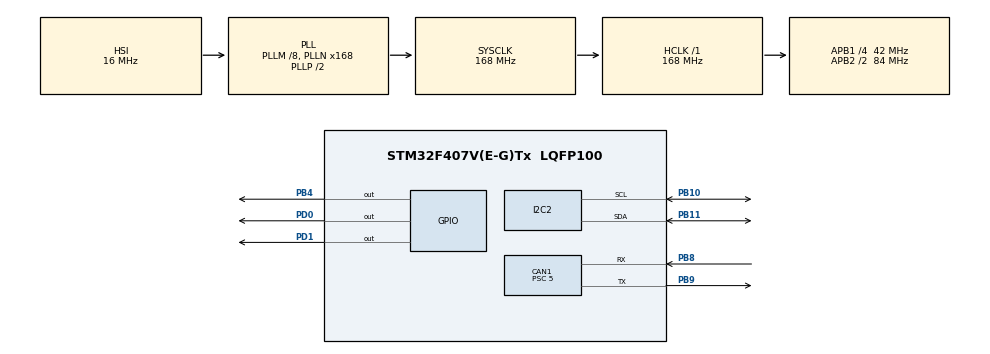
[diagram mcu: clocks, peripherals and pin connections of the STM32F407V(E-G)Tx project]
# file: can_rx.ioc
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CAN1.BS1=CAN_BS1_13TQ
CAN1.BS2=CAN_BS2_2TQ
CAN1.CalculateBaudRate=525000
CAN1.CalculateTimeBit=1904
CAN1.CalculateTimeQuantum=119.04761904761905
CAN1.Prescaler=5
Mcu.Family=STM32F4
Mcu.Name=STM32F407V(E-G)Tx
Mcu.Package=LQFP100
NVIC.PriorityGroup=NVIC_PRIORITYGROUP_0
PB10.Mode=I2C
PB10.Signal=I2C2_SCL
PB11.Mode=I2C
PB11.Signal=I2C2_SDA
PB4.Signal=GPIO_Output
PB8.Mode=CAN_Activate
PB8.Signal=CAN1_RX
PB9.Mode=CAN_Activate
PB9.Signal=CAN1_TX
PD0.Signal=GPIO_Output
PD1.Signal=GPIO_Output
ProjectManager.HeapSize=0x200
ProjectManager.StackSize=0x400
ProjectManager.TargetToolchain=STM32CubeIDE
RCC.48MHZClocksFreq_Value=48000000
RCC.AHBFreq_Value=168000000
RCC.APB1CLKDivider=RCC_HCLK_DIV4
RCC.APB1Freq_Value=42000000
RCC.APB1TimFreq_Value=84000000
RCC.APB2CLKDivider=RCC_HCLK_DIV2
RCC.APB2Freq_Value=84000000
RCC.APB2TimFreq_Value=168000000
RCC.CortexFreq_Value=168000000
RCC.HCLKFreq_Value=168000000
RCC.HSE_VALUE=8000000
RCC.HSI_VALUE=16000000
RCC.LSE_VALUE=32768
RCC.PLLM=8
RCC.PLLN=168
RCC.PLLQ=7
RCC.SYSCLKFreq_VALUE=168000000
RCC.SYSCLKSource=RCC_SYSCLKSOURCE_PLLCLK
RCC.VCOOutputFreq_Value=336000000
board=STM32F407G-DISC1

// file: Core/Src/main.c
/* USER CODE BEGIN Header */
/**
  ******************************************************************************
  * @file           : main.c
  * @brief          : Main program body
  ******************************************************************************
  * @attention
  *
  * Copyright (c) 2026 STMicroelectronics.
  * All rights reserved.
  *
  * This software is licensed under terms that can be found in the LICENSE file
  * in the root directory of this software component.
  * If no LICENSE file comes with this software, it is provided AS-IS.
  *
  ******************************************************************************
  */
/* USER CODE END Header */
#include "main.h"

/* USER CODE BEGIN Includes */
#include "common.h"
#include "can_driver.h"
#include "lcd.h"
#include "indicator.h"
#include "buzzer.h"
#include <stdio.h>
#include <string.h>
/* USER CODE END Includes */

CAN_HandleTypeDef hcan1;

I2C_HandleTypeDef hi2c2;

/* USER CODE BEGIN PV */
SensorData_t Sensor;
SystemStatus_t PrevStatus = STATUS_NORMAL;
/* USER CODE END PV */

void SystemClock_Config(void);
static void MX_GPIO_Init(void);
static void MX_CAN1_Init(void);
static void MX_I2C2_Init(void);

int main(void)
{

  /* MCU Configuration--------------------------------------------------------*/

  /* Reset of all peripherals, Initializes the Flash interface and the Systick. */
  HAL_Init();

  /* Configure the system clock */
  SystemClock_Config();

  /* Initialize all configured peripherals */
  MX_GPIO_Init();
  MX_CAN1_Init();
  MX_I2C2_Init();
  /* USER CODE BEGIN 2 */
  CAN_Driver_Init();

  lcd_init();

  LCD_ShowWaiting();
  /* USER CODE END 2 */

  /* Infinite loop */
  /* USER CODE BEGIN WHILE */
  while (1)
  {
	  if (CAN_ReceivePacket(&Sensor) == HAL_OK)
	  {
	      Indicator_Update(Sensor.Status);

	      LCD_Update(&Sensor);
	      PrevStatus = Sensor.Status;

	      Buzzer_Update(Sensor.Status);

	  }

    /* USER CODE END WHILE */

  }
}

void SystemClock_Config(void)
{
  RCC_OscInitTypeDef RCC_OscInitStruct = {0};
  RCC_ClkInitTypeDef RCC_ClkInitStruct = {0};

  /** Configure the main internal regulator output voltage
  */
  __HAL_RCC_PWR_CLK_ENABLE();
  __HAL_PWR_VOLTAGESCALING_CONFIG(PWR_REGULATOR_VOLTAGE_SCALE1);

  /** Initializes the RCC Oscillators according to the specified parameters
  * in the RCC_OscInitTypeDef structure.
  */
  RCC_OscInitStruct.OscillatorType = RCC_OSCILLATORTYPE_HSI;
  RCC_OscInitStruct.HSIState = RCC_HSI_ON;
  RCC_OscInitStruct.HSICalibrationValue = RCC_HSICALIBRATION_DEFAULT;
  RCC_OscInitStruct.PLL.PLLState = RCC_PLL_ON;
  RCC_OscInitStruct.PLL.PLLSource = RCC_PLLSOURCE_HSI;
  RCC_OscInitStruct.PLL.PLLM = 8;
  RCC_OscInitStruct.PLL.PLLN = 168;
  RCC_OscInitStruct.PLL.PLLP = RCC_PLLP_DIV2;
  RCC_OscInitStruct.PLL.PLLQ = 7;
  if (HAL_RCC_OscConfig(&RCC_OscInitStruct) != HAL_OK)
  {
    Error_Handler();
  }

  /** Initializes the CPU, AHB and APB buses clocks
  */
  RCC_ClkInitStruct.ClockType = RCC_CLOCKTYPE_HCLK|RCC_CLOCKTYPE_SYSCLK
                              |RCC_CLOCKTYPE_PCLK1|RCC_CLOCKTYPE_PCLK2;
  RCC_ClkInitStruct.SYSCLKSource = RCC_SYSCLKSOURCE_PLLCLK;
  RCC_ClkInitStruct.AHBCLKDivider = RCC_SYSCLK_DIV1;
  RCC_ClkInitStruct.APB1CLKDivider = RCC_HCLK_DIV4;
  RCC_ClkInitStruct.APB2CLKDivider = RCC_HCLK_DIV2;

  if (HAL_RCC_ClockConfig(&RCC_ClkInitStruct, FLASH_LATENCY_5) != HAL_OK)
  {
    Error_Handler();
  }
}

static void MX_CAN1_Init(void)
{

  hcan1.Instance = CAN1;
  hcan1.Init.Prescaler = 5;
  hcan1.Init.Mode = CAN_MODE_NORMAL;
  hcan1.Init.SyncJumpWidth = CAN_SJW_1TQ;
  hcan1.Init.TimeSeg1 = CAN_BS1_13TQ;
  hcan1.Init.TimeSeg2 = CAN_BS2_2TQ;
  hcan1.Init.TimeTriggeredMode = DISABLE;
  hcan1.Init.AutoBusOff = DISABLE;
  hcan1.Init.AutoWakeUp = DISABLE;
  hcan1.Init.AutoRetransmission = DISABLE;
  hcan1.Init.ReceiveFifoLocked = DISABLE;
  hcan1.Init.TransmitFifoPriority = DISABLE;
  if (HAL_CAN_Init(&hcan1) != HAL_OK)
  {
    Error_Handler();
  }

}

static void MX_I2C2_Init(void)
{

  hi2c2.Instance = I2C2;
  hi2c2.Init.ClockSpeed = 100000;
  hi2c2.Init.DutyCycle = I2C_DUTYCYCLE_2;
  hi2c2.Init.OwnAddress1 = 0;
  hi2c2.Init.AddressingMode = I2C_ADDRESSINGMODE_7BIT;
  hi2c2.Init.DualAddressMode = I2C_DUALADDRESS_DISABLE;
  hi2c2.Init.OwnAddress2 = 0;
  hi2c2.Init.GeneralCallMode = I2C_GENERALCALL_DISABLE;
  hi2c2.Init.NoStretchMode = I2C_NOSTRETCH_DISABLE;
  if (HAL_I2C_Init(&hi2c2) != HAL_OK)
  {
    Error_Handler();
  }

}

static void MX_GPIO_Init(void)
{
  GPIO_InitTypeDef GPIO_InitStruct = {0};

  /* GPIO Ports Clock Enable */
  __HAL_RCC_GPIOB_CLK_ENABLE();
  __HAL_RCC_GPIOD_CLK_ENABLE();

  /*Configure GPIO pin Output Level */
  HAL_GPIO_WritePin(GPIOD, GPIO_PIN_0|GPIO_PIN_1, GPIO_PIN_RESET);

  /*Configure GPIO pin Output Level */
  HAL_GPIO_WritePin(GPIOB, GPIO_PIN_4, GPIO_PIN_RESET);

  /*Configure GPIO pins : PD0 PD1 */
  GPIO_InitStruct.Pin = GPIO_PIN_0|GPIO_PIN_1;
  GPIO_InitStruct.Mode = GPIO_MODE_OUTPUT_PP;
  GPIO_InitStruct.Pull = GPIO_NOPULL;
  GPIO_InitStruct.Speed = GPIO_SPEED_FREQ_LOW;
  HAL_GPIO_Init(GPIOD, &GPIO_InitStruct);

  /*Configure GPIO pin : PB4 */
  GPIO_InitStruct.Pin = GPIO_PIN_4;
  GPIO_InitStruct.Mode = GPIO_MODE_OUTPUT_PP;
  GPIO_InitStruct.Pull = GPIO_NOPULL;
  GPIO_InitStruct.Speed = GPIO_SPEED_FREQ_LOW;
  HAL_GPIO_Init(GPIOB, &GPIO_InitStruct);

}

void Error_Handler(void)
{
  __disable_irq();
  while (1)
  {
  }
}
